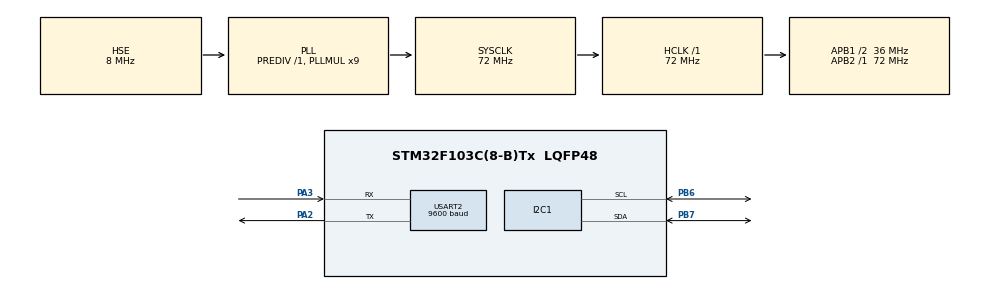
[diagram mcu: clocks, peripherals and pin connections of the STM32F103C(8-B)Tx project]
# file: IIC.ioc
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Dma.I2C1_RX.0.Direction=DMA_PERIPH_TO_MEMORY
Dma.I2C1_RX.0.Instance=DMA1_Channel7
Dma.I2C1_RX.0.MemDataAlignment=DMA_MDATAALIGN_BYTE
Dma.I2C1_RX.0.MemInc=DMA_MINC_ENABLE
Dma.I2C1_RX.0.Mode=DMA_NORMAL
Dma.I2C1_RX.0.PeriphDataAlignment=DMA_PDATAALIGN_BYTE
Dma.I2C1_RX.0.PeriphInc=DMA_PINC_DISABLE
Dma.I2C1_RX.0.Priority=DMA_PRIORITY_LOW
Dma.I2C1_TX.1.Direction=DMA_MEMORY_TO_PERIPH
Dma.I2C1_TX.1.Instance=DMA1_Channel6
Dma.I2C1_TX.1.MemDataAlignment=DMA_MDATAALIGN_BYTE
Dma.I2C1_TX.1.MemInc=DMA_MINC_ENABLE
Dma.I2C1_TX.1.Mode=DMA_NORMAL
Dma.I2C1_TX.1.PeriphDataAlignment=DMA_PDATAALIGN_BYTE
Dma.I2C1_TX.1.PeriphInc=DMA_PINC_DISABLE
Dma.I2C1_TX.1.Priority=DMA_PRIORITY_LOW
Dma.Request0=I2C1_RX
Dma.Request1=I2C1_TX
Mcu.Family=STM32F1
Mcu.Name=STM32F103C(8-B)Tx
Mcu.Package=LQFP48
NVIC.DMA1_Channel6_IRQn=true\:0\:0\:false\:false\:true\:false\:true\:true
NVIC.DMA1_Channel7_IRQn=true\:0\:0\:false\:false\:true\:false\:true\:true
NVIC.I2C1_ER_IRQn=true\:0\:0\:false\:false\:true\:true\:true\:true
NVIC.I2C1_EV_IRQn=true\:0\:0\:false\:false\:true\:true\:true\:true
NVIC.PriorityGroup=NVIC_PRIORITYGROUP_4
NVIC.USART2_IRQn=true\:0\:0\:false\:false\:true\:true\:true\:true
PA13.Mode=Serial_Wire
PA13.Signal=SYS_JTMS-SWDIO
PA14.Mode=Serial_Wire
PA14.Signal=SYS_JTCK-SWCLK
PA2.Mode=Asynchronous
PA2.Signal=USART2_TX
PA3.Mode=Asynchronous
PA3.Signal=USART2_RX
PB6.Mode=I2C
PB6.Signal=I2C1_SCL
PB7.Mode=I2C
PB7.Signal=I2C1_SDA
PD0-OSC_IN.Mode=HSE-External-Oscillator
PD0-OSC_IN.Signal=RCC_OSC_IN
PD1-OSC_OUT.Mode=HSE-External-Oscillator
PD1-OSC_OUT.Signal=RCC_OSC_OUT
ProjectManager.HeapSize=0x200
ProjectManager.StackSize=0x400
ProjectManager.TargetToolchain=CMake
RCC.AHBFreq_Value=72000000
RCC.APB1CLKDivider=RCC_HCLK_DIV2
RCC.APB1Freq_Value=36000000
RCC.APB1TimFreq_Value=72000000
RCC.APB2Freq_Value=72000000
RCC.APB2TimFreq_Value=72000000
RCC.HCLKFreq_Value=72000000
RCC.PLLMUL=RCC_PLL_MUL9
RCC.PLLSourceVirtual=RCC_PLLSOURCE_HSE
RCC.SYSCLKFreq_VALUE=72000000
RCC.SYSCLKSource=RCC_SYSCLKSOURCE_PLLCLK
RCC.USBFreq_Value=72000000
USART2.BaudRate=9600
USART2.VirtualMode=VM_ASYNC
board=custom

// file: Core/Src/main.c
/* USER CODE BEGIN Header */
/**
  ******************************************************************************
  * @file           : main.c
  * @brief          : Main program body
  ******************************************************************************
  * @attention
  *
  * Copyright (c) 2026 STMicroelectronics.
  * All rights reserved.
  *
  * This software is licensed under terms that can be found in the LICENSE file
  * in the root directory of this software component.
  * If no LICENSE file comes with this software, it is provided AS-IS.
  *
  ******************************************************************************
  */
/* USER CODE END Header */
#include "main.h"
#include "dma.h"
#include "i2c.h"
#include "usart.h"
#include "gpio.h"

/* USER CODE BEGIN Includes */
#include "aht20.h"
#include "stdio.h"
#include "string.h"
/* USER CODE END Includes */

/* USER CODE BEGIN PV */
// 0：初始状态 发送测量命令 1：正在发送测量命令 2：测量命令发送完成 等待75毫秒后读取AHT20数据 3：读取中 4：读取完成 解析并展示数据然后恢复到初始状态
uint8_t aht20_state = 0;
/* USER CODE END PV */

void SystemClock_Config(void);

int main(void)
{

  /* MCU Configuration--------------------------------------------------------*/

  /* Reset of all peripherals, Initializes the Flash interface and the Systick. */
  HAL_Init();

  /* Configure the system clock */
  SystemClock_Config();

  /* Initialize all configured peripherals */
  MX_GPIO_Init();
  MX_DMA_Init();
  MX_I2C1_Init();
  MX_USART2_UART_Init();
  /* USER CODE BEGIN 2 */
  AHT20_Init(&hi2c1);
  float temperature, humidity;
  /* USER CODE END 2 */

  /* Infinite loop */
  /* USER CODE BEGIN WHILE */
  while (1)
  {
    if(aht20_state == 0) {
        AHT20_Measure(&hi2c1);
        aht20_state = 1;
    } else if(aht20_state == 2) {
      HAL_Delay(75); // Wait for the measurement to complete
      AHT20_Get(&hi2c1);
      aht20_state = 3;
    } else if(aht20_state == 4) {
      AHT20_Analysis(&temperature, &humidity);
      printf("Temperature: %.2f °C, Humidity: %.2f %%\r\n", temperature, humidity);
      aht20_state = 0;
      HAL_Delay(1000);
    }
    // AHT20_Read(&hi2c1, &temperature, &humidity);
    // printf("Temperature: %.2f °C, Humidity: %.2f %%\r\n", temperature, humidity);

    // HAL_Delay(1000);
    /* USER CODE END WHILE */

  }
}

void SystemClock_Config(void)
{
  RCC_OscInitTypeDef RCC_OscInitStruct = {0};
  RCC_ClkInitTypeDef RCC_ClkInitStruct = {0};

  /** Initializes the RCC Oscillators according to the specified parameters
  * in the RCC_OscInitTypeDef structure.
  */
  RCC_OscInitStruct.OscillatorType = RCC_OSCILLATORTYPE_HSE;
  RCC_OscInitStruct.HSEState = RCC_HSE_ON;
  RCC_OscInitStruct.HSEPredivValue = RCC_HSE_PREDIV_DIV1;
  RCC_OscInitStruct.HSIState = RCC_HSI_ON;
  RCC_OscInitStruct.PLL.PLLState = RCC_PLL_ON;
  RCC_OscInitStruct.PLL.PLLSource = RCC_PLLSOURCE_HSE;
  RCC_OscInitStruct.PLL.PLLMUL = RCC_PLL_MUL9;
  if (HAL_RCC_OscConfig(&RCC_OscInitStruct) != HAL_OK)
  {
    Error_Handler();
  }

  /** Initializes the CPU, AHB and APB buses clocks
  */
  RCC_ClkInitStruct.ClockType = RCC_CLOCKTYPE_HCLK|RCC_CLOCKTYPE_SYSCLK
                              |RCC_CLOCKTYPE_PCLK1|RCC_CLOCKTYPE_PCLK2;
  RCC_ClkInitStruct.SYSCLKSource = RCC_SYSCLKSOURCE_PLLCLK;
  RCC_ClkInitStruct.AHBCLKDivider = RCC_SYSCLK_DIV1;
  RCC_ClkInitStruct.APB1CLKDivider = RCC_HCLK_DIV2;
  RCC_ClkInitStruct.APB2CLKDivider = RCC_HCLK_DIV1;

  if (HAL_RCC_ClockConfig(&RCC_ClkInitStruct, FLASH_LATENCY_2) != HAL_OK)
  {
    Error_Handler();
  }
}

void Error_Handler(void)
{
  __disable_irq();
  while (1)
  {
  }
}
